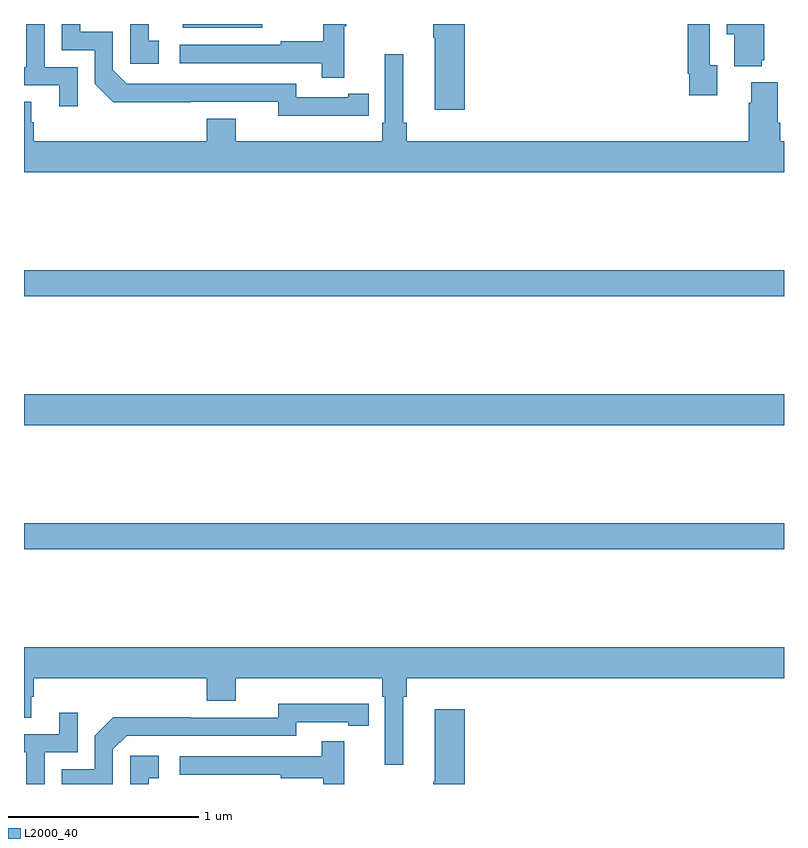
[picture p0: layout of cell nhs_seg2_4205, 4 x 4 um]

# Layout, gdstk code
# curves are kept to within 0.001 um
import gdstk
lib = gdstk.Library(unit=1e-6, precision=1e-09)
def R(c, l, rs):  # rectangles x0, y0, x1, y1
    for r in rs: c.add(gdstk.rectangle(r[:2], r[2:], *l))
def P(c, l, *ps):  # polygons
    for p in ps: c.add(gdstk.Polygon(p, *l))
L2000_40 = (2000, 40)

nhs_seg2_4205 = lib.new_cell('nhs_seg2_4205')
R(nhs_seg2_4205, L2000_40, [(339,595.036,343,595.172), (339,595.688,343,595.852), (339,596.368,343,596.504), (339.836,597.779,340.255,597.8)])
P(nhs_seg2_4205, L2000_40, [(342.649,597.582),(342.609,597.582),(342.609,597.8),(342.493,597.8),(342.493,597.538),(342.501,597.538),(342.501,597.426),(342.649,597.426)],
  [(339.709,597.711),(339.656,597.711),(339.656,597.8),(339.558,597.8),(339.558,597.591),(339.709,597.591)],
  [(339.282,597.573),(339.108,597.573),(339.108,597.8),(339.012,597.8),(339.012,597.573),(339,597.573),(339,597.477),(339.185,597.477),(339.185,597.366),(339.282,597.366)],
  [(340.685,597.787),(340.696,597.787),(340.696,597.8),(340.575,597.8),(340.575,597.71),(340.351,597.71),(340.351,597.69),(339.819,597.69),(339.819,597.594),(340.567,597.594),(340.567,597.516),(340.685,597.516)],
  [(342.884,597.609),(342.895,597.609),(342.895,597.8),(342.698,597.8),(342.698,597.746),(342.737,597.746),(342.737,597.578),(342.884,597.578)],
  [(340.706,597.318),(340.814,597.318),(340.814,597.434),(340.706,597.434),(340.706,597.414),(340.434,597.414),(340.434,597.486),(339.54,597.486),(339.468,597.558),(339.468,597.759),(339.295,597.759),(339.295,597.8),(339.198,597.8),(339.198,597.663),(339.372,597.663),(339.372,597.486),(339.47,597.389),(340.338,597.39),(340.338,597.317)],
  [(341.321,597.8),(341.155,597.8),(341.155,597.727),(341.162,597.727),(341.162,597.348),(341.321,597.348)],
  [(343,597.184),(342.98,597.184),(342.98,597.28),(342.967,597.28),(342.967,597.493),(342.827,597.493),(342.827,597.386),(342.815,597.386),(342.815,597.184),(341.015,597.184),(341.015,597.28),(340.996,597.28),(340.996,597.64),(340.899,597.64),(340.899,597.28),(340.886,597.28),(340.886,597.184),(340.114,597.184),(340.114,597.301),(339.962,597.301),(339.962,597.184),(339.05,597.184),(339.05,597.282),(339.037,597.282),(339.037,597.392),(339,597.392),(339,597.02),(343,597.02)],
  [(340.996,594.26),(341.015,594.26),(341.015,594.356),(343,594.356),(343,594.52),(339,594.52),(339,594.148),(339.037,594.148),(339.037,594.258),(339.05,594.258),(339.05,594.356),(339.962,594.356),(339.962,594.239),(340.114,594.239),(340.114,594.356),(340.886,594.356),(340.886,594.26),(340.899,594.26),(340.899,593.901),(340.996,593.901)],
  [(339.468,593.982),(339.54,594.054),(340.434,594.054),(340.434,594.126),(340.706,594.126),(340.706,594.106),(340.814,594.106),(340.814,594.222),(340.338,594.223),(340.338,594.15),(339.878,594.15),(339.878,594.152),(339.47,594.152),(339.372,594.054),(339.372,593.877),(339.198,593.877),(339.198,593.8),(339.468,593.8)],
  [(341.321,594.193),(341.162,594.193),(341.162,593.813),(341.155,593.813),(341.155,593.8),(341.321,593.8)],
  [(339.108,593.967),(339.282,593.967),(339.282,594.175),(339.185,594.175),(339.185,594.063),(339,594.063),(339,593.967),(339.012,593.967),(339.012,593.8),(339.108,593.8)],
  [(340.685,594.025),(340.567,594.025),(340.567,593.946),(339.819,593.946),(339.819,593.85),(340.351,593.85),(340.351,593.83),(340.575,593.83),(340.575,593.8),(340.685,593.8)],
  [(339.656,593.829),(339.709,593.829),(339.709,593.95),(339.558,593.95),(339.558,593.8),(339.656,593.8)])

lib.write_gds('nhs_seg2_4205.gds')
